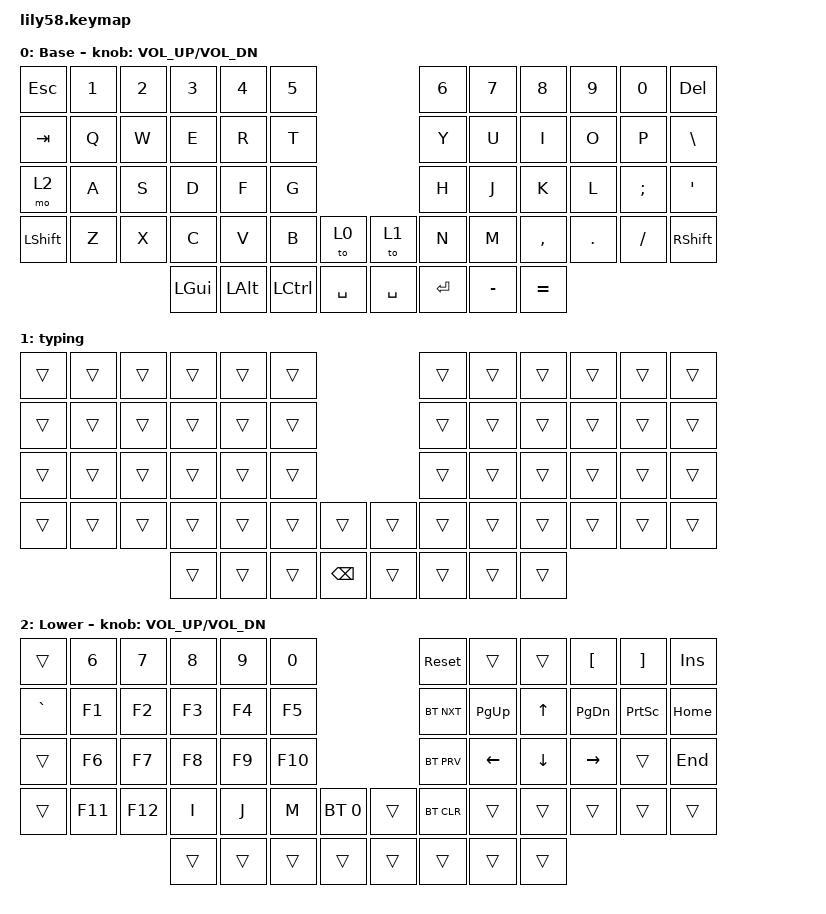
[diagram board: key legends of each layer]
/*
 * Copyright (c) 2020 The ZMK Contributors
 *
 * SPDX-License-Identifier: MIT
 */

#include <behaviors.dtsi>
#include <dt-bindings/zmk/bt.h>
#include <dt-bindings/zmk/keys.h>

/ {
    keymap {
        compatible = "zmk,keymap";

        gaming {
            // ------------------------------------------------------------------------------------------------------------
            // |  ESC  |  1  |  2  |  3   |  4   |  5   |                   |  6   |  7    |  8    |  9   |   0   |   `   |
            // |  TAB  |  Q  |  W  |  E   |  R   |  T   |                   |  Y   |  U    |  I    |  O   |   P   |   -   |
            // |  CTRL |  A  |  S  |  D   |  F   |  G   |                   |  H   |  J    |  K    |  L   |   ;   |   '   |
            // | SHIFT |  Z  |  X  |  C   |  V   |  B   |   "["  |  |  "]"  |  N   |  M    |  ,    |  .   |   /   | SHIFT |
            //                     | ALT  | GUI  | LOWER|  SPACE |  | ENTER | RAISE| BSPC  | GUI   |

            display-name = "Base";
            bindings = <
&kp ESC         &kp N1  &kp N2  &kp N3        &kp N4        &kp N5                                    &kp N6     &kp N7     &kp N8     &kp N9   &kp N0    &kp DEL
&kp TAB         &kp Q   &kp W   &kp E         &kp R         &kp T                                     &kp Y      &kp U      &kp I      &kp O    &kp P     &kp BACKSLASH
&mo 2           &kp A   &kp S   &kp D         &kp F         &kp G                                     &kp H      &kp J      &kp K      &kp L    &kp SEMI  &kp SQT
&kp LEFT_SHIFT  &kp Z   &kp X   &kp C         &kp V         &kp B             &to 0        &to 1      &kp N      &kp M      &kp COMMA  &kp DOT  &kp FSLH  &kp RSHFT
                                &kp LEFT_GUI  &kp LEFT_ALT  &kp LEFT_CONTROL  &kp SPACE    &kp SPACE  &kp ENTER  &kp MINUS  &kp EQUAL
            >;

            sensor-bindings = <&inc_dec_kp C_VOL_UP C_VOL_DN>;
        };

        typing {
            bindings = <
&trans  &trans  &trans  &trans  &trans  &trans                      &trans  &trans  &trans  &trans  &trans  &trans
&trans  &trans  &trans  &trans  &trans  &trans                      &trans  &trans  &trans  &trans  &trans  &trans
&trans  &trans  &trans  &trans  &trans  &trans                      &trans  &trans  &trans  &trans  &trans  &trans
&trans  &trans  &trans  &trans  &trans  &trans  &trans      &trans  &trans  &trans  &trans  &trans  &trans  &trans
                        &trans  &trans  &trans  &kp BSPC    &trans  &trans  &trans  &trans
            >;
        };

        function {
            // ------------------------------------------------------------------------------------------------------------
            // | BTCLR | BT1 | BT2 |  BT3 |  BT4 |  BT5 |                   |      |       |       |      |       |       |
            // |  F1   |  F2 |  F3 |  F4  |  F5  |  F6  |                   |  F7  |  F8   |  F9   |  F10 |  F11  |  F12  |
            // |   `   |  !  |  @  |  #   |  $   |  %   |                   |  ^   |  &    |  *    |  (   |   )   |   ~   |
            // |       |     |     |      |      |      |        |  |       |      |  _    |  +    |  {   |   }   |  "|"  |
            //                     |      |      |      |        |  |       |      |       |       |

            display-name = "Lower";
            bindings = <
&trans     &kp N6   &kp N7   &kp N8  &kp N9  &kp N0                           &sys_reset  &trans          &trans        &kp LEFT_BRACKET  &kp RIGHT_BRACKET  &kp INS
&kp GRAVE  &kp F1   &kp F2   &kp F3  &kp F4  &kp F5                           &bt BT_NXT  &kp PG_UP       &kp UP_ARROW  &kp PAGE_DOWN     &kp PRINTSCREEN    &kp HOME
&trans     &kp F6   &kp F7   &kp F8  &kp F9  &kp F10                          &bt BT_PRV  &kp LEFT_ARROW  &kp DOWN      &kp RIGHT         &trans             &kp END
&trans     &kp F11  &kp F12  &kp I   &kp J   &kp M    &bt BT_SEL 0    &trans  &bt BT_CLR  &trans          &trans        &trans            &trans             &trans
                             &trans  &trans  &trans   &trans          &trans  &trans      &trans          &trans
            >;

            sensor-bindings = <&inc_dec_kp C_VOL_UP C_VOL_DN>;
        };
    };
};
